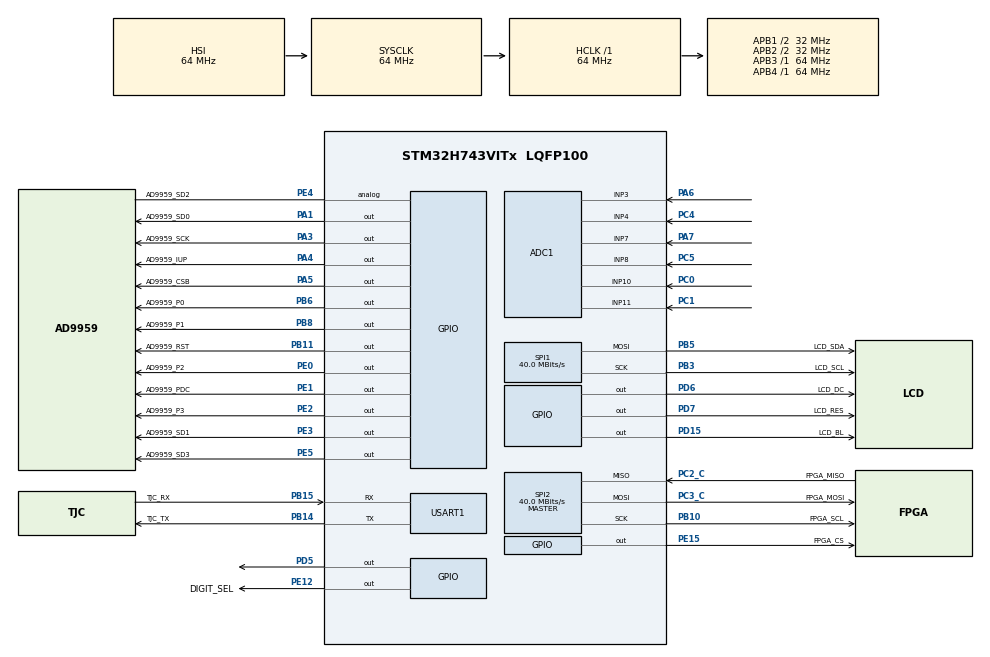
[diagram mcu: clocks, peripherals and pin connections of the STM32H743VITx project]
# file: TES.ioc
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ADC1.Channel-10\#ChannelRegularConversion=ADC_CHANNEL_10
ADC1.Channel-11\#ChannelRegularConversion=ADC_CHANNEL_11
ADC1.Channel-4\#ChannelRegularConversion=ADC_CHANNEL_3
ADC1.Channel-5\#ChannelRegularConversion=ADC_CHANNEL_4
ADC1.Channel-6\#ChannelRegularConversion=ADC_CHANNEL_7
ADC1.Channel-7\#ChannelRegularConversion=ADC_CHANNEL_8
ADC1.ClockPrescaler=ADC_CLOCK_ASYNC_DIV2
ADC1.ClockPrescalerADC3=ADC_CLOCK_ASYNC_DIV16
ADC1.ContinuousConvMode=ENABLE
ADC1.ConversionDataManagement=ADC_CONVERSIONDATA_DMA_CIRCULAR
ADC1.EOCSelection=ADC_EOC_SEQ_CONV
ADC1.NbrOfConversion=6
ADC1.NbrOfConversionFlag=1
ADC1.OffsetNumber-10\#ChannelRegularConversion=ADC_OFFSET_NONE
ADC1.OffsetNumber-11\#ChannelRegularConversion=ADC_OFFSET_NONE
ADC1.OffsetNumber-4\#ChannelRegularConversion=ADC_OFFSET_NONE
ADC1.OffsetNumber-5\#ChannelRegularConversion=ADC_OFFSET_NONE
ADC1.OffsetNumber-6\#ChannelRegularConversion=ADC_OFFSET_NONE
ADC1.OffsetNumber-7\#ChannelRegularConversion=ADC_OFFSET_NONE
ADC1.OffsetSignedSaturation-10\#ChannelRegularConversion=DISABLE
ADC1.OffsetSignedSaturation-11\#ChannelRegularConversion=DISABLE
ADC1.OffsetSignedSaturation-4\#ChannelRegularConversion=DISABLE
ADC1.OffsetSignedSaturation-5\#ChannelRegularConversion=DISABLE
ADC1.OffsetSignedSaturation-6\#ChannelRegularConversion=DISABLE
ADC1.OffsetSignedSaturation-7\#ChannelRegularConversion=DISABLE
ADC1.Overrun=ADC_OVR_DATA_OVERWRITTEN
ADC1.OversamplingMode=DISABLE
ADC1.Rank-10\#ChannelRegularConversion=5
ADC1.Rank-11\#ChannelRegularConversion=6
ADC1.Rank-4\#ChannelRegularConversion=1
ADC1.Rank-5\#ChannelRegularConversion=2
ADC1.Rank-6\#ChannelRegularConversion=3
ADC1.Rank-7\#ChannelRegularConversion=4
ADC1.Ratio=1
ADC1.SamplingTime-10\#ChannelRegularConversion=ADC_SAMPLETIME_1CYCLE_5
ADC1.SamplingTime-11\#ChannelRegularConversion=ADC_SAMPLETIME_1CYCLE_5
ADC1.SamplingTime-4\#ChannelRegularConversion=ADC_SAMPLETIME_1CYCLE_5
ADC1.SamplingTime-5\#ChannelRegularConversion=ADC_SAMPLETIME_1CYCLE_5
ADC1.SamplingTime-6\#ChannelRegularConversion=ADC_SAMPLETIME_1CYCLE_5
ADC1.SamplingTime-7\#ChannelRegularConversion=ADC_SAMPLETIME_1CYCLE_5
ADC1.master=1
ADC3.Channel-0\#ChannelRegularConversion=ADC_CHANNEL_TEMPSENSOR
ADC3.ClockPrescaler=ADC_CLOCK_ASYNC_DIV2
ADC3.ClockPrescalerADC3=ADC_CLOCK_ASYNC_DIV16
ADC3.NbrOfConversionFlag=1
ADC3.OffsetNumber-0\#ChannelRegularConversion=ADC_OFFSET_NONE
ADC3.OffsetSignedSaturation-0\#ChannelRegularConversion=DISABLE
ADC3.Overrun=ADC_OVR_DATA_OVERWRITTEN
ADC3.Rank-0\#ChannelRegularConversion=1
ADC3.SamplingTime-0\#ChannelRegularConversion=ADC_SAMPLETIME_810CYCLES_5
CORTEX_M7.AccessPermission-Cortex_Memory_Protection_Unit_Region0_Settings=MPU_REGION_FULL_ACCESS
CORTEX_M7.AccessPermission_Spec=MPU_REGION_FULL_ACCESS
CORTEX_M7.BaseAddress-Cortex_Memory_Protection_Unit_Region0_Settings=0x0
CORTEX_M7.BaseAddress_Spec=0x24000000
CORTEX_M7.CPU_DCache=Enabled
CORTEX_M7.CPU_ICache=Enabled
CORTEX_M7.DisableExec_Spec=MPU_INSTRUCTION_ACCESS_ENABLE
CORTEX_M7.Enable-Cortex_Memory_Protection_Unit_Region0_Settings=MPU_REGION_ENABLE
CORTEX_M7.Enable_S-Cortex_Memory_Protection_Unit_Region1_Settings_S=__NULL
CORTEX_M7.IsBufferable_Spec=MPU_ACCESS_NOT_BUFFERABLE
CORTEX_M7.IsCacheable_Spec=MPU_ACCESS_NOT_CACHEABLE
CORTEX_M7.IsShareable_Spec=MPU_ACCESS_NOT_SHAREABLE
CORTEX_M7.MPU_Control=MPU_PRIVILEGED_DEFAULT
CORTEX_M7.Size-Cortex_Memory_Protection_Unit_Region0_Settings=MPU_REGION_SIZE_16KB
CORTEX_M7.Size_Spec=MPU_REGION_SIZE_16KB
CORTEX_M7.SubRegionDisable_Spec=0x0
CORTEX_M7.TypeExtField_Spec=MPU_TEX_LEVEL0
CORTEX_M7.default_mode_Activation=1
Dma.ADC1.0.Direction=DMA_PERIPH_TO_MEMORY
Dma.ADC1.0.EventEnable=DISABLE
Dma.ADC1.0.FIFOMode=DMA_FIFOMODE_DISABLE
Dma.ADC1.0.Instance=DMA2_Stream4
Dma.ADC1.0.MemDataAlignment=DMA_MDATAALIGN_HALFWORD
Dma.ADC1.0.MemInc=DMA_MINC_ENABLE
Dma.ADC1.0.Mode=DMA_CIRCULAR
Dma.ADC1.0.PeriphDataAlignment=DMA_PDATAALIGN_HALFWORD
Dma.ADC1.0.PeriphInc=DMA_PINC_DISABLE
Dma.ADC1.0.Polarity=HAL_DMAMUX_REQ_GEN_RISING
Dma.ADC1.0.Priority=DMA_PRIORITY_VERY_HIGH
Dma.ADC1.0.RequestNumber=1
Dma.ADC1.0.SignalID=NONE
Dma.ADC1.0.SyncEnable=DISABLE
Dma.ADC1.0.SyncPolarity=HAL_DMAMUX_SYNC_NO_EVENT
Dma.ADC1.0.SyncRequestNumber=1
Dma.ADC1.0.SyncSignalID=NONE
Dma.Request0=ADC1
Mcu.Family=STM32H7
Mcu.Name=STM32H743VITx
Mcu.Package=LQFP100
NVIC.ADC_IRQn=true\:0\:0\:false\:false\:true\:true\:true\:true
NVIC.DMA2_Stream4_IRQn=true\:0\:0\:false\:false\:true\:false\:true\:true
NVIC.PriorityGroup=NVIC_PRIORITYGROUP_4
PA1.GPIO_Label=AD9959_SD0
PA1.Signal=GPIO_Output
PA3.GPIO_Label=AD9959_SCK
PA3.Signal=GPIO_Output
PA4.GPIO_Label=AD9959_IUP
PA4.Signal=GPIO_Output
PA5.GPIO_Label=AD9959_CSB
PA5.Signal=GPIO_Output
PA6.Signal=ADCx_INP3
PA7.Signal=ADCx_INP7
PB10.GPIO_Label=FPGA_SCL
PB10.Mode=Full_Duplex_Master
PB10.Signal=SPI2_SCK
PB11.GPIO_Label=AD9959_RST
PB11.Signal=GPIO_Output
PB14.GPIO_Label=TJC_TX
PB14.Mode=Asynchronous
PB14.Signal=USART1_TX
PB15.GPIO_Label=TJC_RX
PB15.Mode=Asynchronous
PB15.Signal=USART1_RX
PB3\ (JTDO/TRACESWO).GPIO_Label=LCD_SCL
PB3\ (JTDO/TRACESWO).Mode=TX_Only_Simplex_Unidirect_Master
PB3\ (JTDO/TRACESWO).Signal=SPI1_SCK
PB5.GPIO_Label=LCD_SDA
PB5.Mode=TX_Only_Simplex_Unidirect_Master
PB5.Signal=SPI1_MOSI
PB6.GPIO_Label=AD9959_P0
PB6.Signal=GPIO_Output
PB8.GPIO_Label=AD9959_P1
PB8.Signal=GPIO_Output
PC0.Signal=ADCx_INP10
PC1.Signal=ADCx_INP11
PC12.Signal=SPI3_MOSI
PC14-OSC32_IN\ (OSC32_IN).Mode=LSE-External-Oscillator
PC14-OSC32_IN\ (OSC32_IN).Signal=RCC_OSC32_IN
PC15-OSC32_OUT\ (OSC32_OUT).Mode=LSE-External-Oscillator
PC15-OSC32_OUT\ (OSC32_OUT).Signal=RCC_OSC32_OUT
PC2_C.GPIO_Label=FPGA_MISO
PC2_C.Mode=Full_Duplex_Master
PC2_C.Signal=SPI2_MISO
PC3_C.GPIO_Label=FPGA_MOSI
PC3_C.Mode=Full_Duplex_Master
PC3_C.Signal=SPI2_MOSI
PC4.Signal=ADCx_INP4
PC5.Signal=ADCx_INP8
PD15.GPIO_Label=LCD_BL
PD15.Signal=GPIO_Output
PD5.Signal=GPIO_Output
PD6.GPIO_Label=LCD_DC
PD6.Signal=GPIO_Output
PD7.GPIO_Label=LCD_RES
PD7.Signal=GPIO_Output
PE0.GPIO_Label=AD9959_P2
PE0.Signal=GPIO_Output
PE1.GPIO_Label=AD9959_PDC
PE1.Signal=GPIO_Output
PE12.GPIO_Label=DIGIT_SEL
PE12.Signal=GPIO_Output
PE15.GPIO_Label=FPGA_CS
PE15.Signal=GPIO_Output
PE2.GPIO_Label=AD9959_P3
PE2.Signal=GPIO_Output
PE3.GPIO_Label=AD9959_SD1
PE3.Signal=GPIO_Output
PE4.GPIO_Label=AD9959_SD2
PE4.Signal=GPIO_Analog
PE5.GPIO_Label=AD9959_SD3
PE5.Signal=GPIO_Output
PH0-OSC_IN\ (PH0).Mode=HSE-External-Oscillator
PH0-OSC_IN\ (PH0).Signal=RCC_OSC_IN
PH1-OSC_OUT\ (PH1).Mode=HSE-External-Oscillator
PH1-OSC_OUT\ (PH1).Signal=RCC_OSC_OUT
ProjectManager.HeapSize=0x200
ProjectManager.StackSize=0x400
ProjectManager.TargetToolchain=MDK-ARM V5.32
RCC.ADCFreq_Value=72000000
RCC.APB1Freq_Value=32000000
RCC.APB2Freq_Value=32000000
RCC.APB3Freq_Value=64000000
RCC.APB4Freq_Value=64000000
RCC.CortexFreq_Value=64000000
RCC.D2PPRE1=RCC_APB1_DIV2
RCC.D2PPRE2=RCC_APB2_DIV2
RCC.DIVM1=4
RCC.DIVM2=4
RCC.DIVM3=4
RCC.DIVN1=10
RCC.DIVN2=36
RCC.DIVN3=10
RCC.DIVP2=8
RCC.DIVP3=4
RCC.DIVQ3=4
RCC.HCLKFreq_Value=64000000
RCC.PLL1_VCI_Range-AdvancedSettings=RCC_PLL1VCIRANGE_0
RCC.PLL2FRACN=0
RCC.PLL3FRACN=0
RCC.PLLFRACN=0
RCC.SYSCLKFreq_VALUE=64000000
RCC.USBFreq_Value=80000000
SH.ADCx_INP10.0=ADC1_INP10,IN10-Single-Ended
SH.ADCx_INP11.0=ADC1_INP11,IN11-Single-Ended
SH.ADCx_INP3.0=ADC1_INP3,IN3-Single-Ended
SH.ADCx_INP4.0=ADC1_INP4,IN4-Single-Ended
SH.ADCx_INP7.0=ADC1_INP7,IN7-Single-Ended
SH.ADCx_INP8.0=ADC1_INP8,IN8-Single-Ended
SPI1.CalculateBaudRate=40.0 MBits/s
SPI1.Direction=SPI_DIRECTION_2LINES_TXONLY
SPI1.Mode=SPI_MODE_MASTER
SPI1.VirtualType=VM_MASTER
SPI2.CalculateBaudRate=40.0 MBits/s
SPI2.Direction=SPI_DIRECTION_2LINES
SPI2.Mode=SPI_MODE_MASTER
SPI2.VirtualType=VM_MASTER
USART1.VirtualMode-Asynchronous=VM_ASYNC
VP_ADC3_TempSens_Input.Mode=IN-TempSens
VP_MEMORYMAP_VS_MEMORYMAP.Mode=CurAppReg
board=custom

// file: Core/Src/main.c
/* USER CODE BEGIN Header */
/**
  ******************************************************************************
  * @file           : main.c
  * @brief          : Main program body
  ******************************************************************************
  * @attention
  *
  * Copyright (c) 2025 STMicroelectronics.
  * All rights reserved.
  *
  * This software is licensed under terms that can be found in the LICENSE file
  * in the root directory of this software component.
  * If no LICENSE file comes with this software, it is provided AS-IS.
  *
  ******************************************************************************
  */
/* USER CODE END Header */
#include "main.h"
#include "adc.h"
#include "dma.h"
#include "memorymap.h"
#include "spi.h"
#include "usart.h"
#include "gpio.h"

/* USER CODE BEGIN Includes */
#include <stdio.h>
//
#include "TJC_Usart.h"
#include "ad9959.h"
/* USER CODE END Includes */

void SystemClock_Config(void);
void PeriphCommonClock_Config(void);
static void MPU_Config(void);

/* USER CODE BEGIN 0 */
#define KEY0 (HAL_GPIO_ReadPin(GPIOA, GPIO_PIN_0))

uint8_t TD[5] = {0x11, 0x22, 0x33, 0x44, 0x55};
uint32_t uwTick_pre = 1000000;
uint32_t cnt_t;
uint32_t AD_freq;
uint32_t AD_freq_temp;
uint8_t  AD_val;
uint32_t S2_0_Freq = 0;
uint32_t time_s2_start = 0;

/* USER CODE END 0 */

int main(void)
{

  /* MPU Configuration--------------------------------------------------------*/
  MPU_Config();

  /* Enable the CPU Cache */

  /* Enable I-Cache---------------------------------------------------------*/
  SCB_EnableICache();

  /* Enable D-Cache---------------------------------------------------------*/
  SCB_EnableDCache();

  /* MCU Configuration--------------------------------------------------------*/

  /* Reset of all peripherals, Initializes the Flash interface and the Systick. */
  HAL_Init();

  /* Configure the system clock */
  SystemClock_Config();

  /* Configure the peripherals common clocks */
  PeriphCommonClock_Config();

  /* Initialize all configured peripherals */
  MX_GPIO_Init();
  MX_DMA_Init();
  MX_USART1_UART_Init();
  MX_ADC1_Init();
  MX_SPI1_Init();
  MX_SPI2_Init();
  MX_ADC3_Init();
  /* USER CODE BEGIN 2 */
	//HAL_UART_Receive_IT(&huart1, &rx_buff[cnt_rx], 1);
  HAL_GPIO_WritePin(DIGIT_SEL_GPIO_Port, DIGIT_SEL_Pin, GPIO_PIN_SET);
	Serial_TJC_SendTxt_2(1, "It's My Go!!!!!");
	Serial_TJC_SendTxt_2(2, "~");
  Serial_TJC_SendTxt_2(21, "Circuit Case:");
  Channel_Select(MAIN_CH_SELECT);
	Write_frequency(MAIN_CH_SELECT, 1000);
	Write_Amplitude(MAIN_CH_SELECT, MAIN_Amplitude);
  time_s2_start = CHARGE_TIME + S1_HOLD_TIME + mark_time;
  Serial_TJC_SendCmd("click b6,0");

  //TJC_Uart_Start();
  /* USER CODE END 2 */

  /* Infinite loop */
	while (1)
	{

    /* USER CODE BEGIN 3 */
		Serial_TJC_SendTxt_2(20, "Minute:%02d  Sencond:%02d.%03d",
							uwTick / 60000, uwTick % 60000 / 1000, uwTick % 1000);

    AD_freq_temp = Get_Frequency();
		if (phase_state == 2) {
      if (uwTick < SWEEP_TIME_1 + time_s2_start) AD_freq = (uwTick - time_s2_start) * SWEEP_FREQ_1 / SWEEP_TIME_1;
      else AD_freq = (AD_freq_temp > AD_freq) ? AD_freq_temp : AD_freq;
    }
		else AD_freq  = AD_freq_temp;

      //if (AD_freq > 1000000)   Serial_TJC_SendTxt_2(3, "AD9959 Freq: %d,%03d,freq);
		Serial_TJC_SendTxt_2(4, "AD9959 Ampl: %4.2f mV",
							(float)AD_val / 2);
    #if __TJC_DEBUG__
    Serial_TJC_SendTxt_2(27, "phase_state: %d", phase_state);
    #endif

		//show_GPU_temprature();
		ShowADCResult();

    if (phase_state == 2) {
      if (uwTick < SWEEP_TIME_1 + time_s2_start){
        S2_0_Freq = AD_freq;
        Write_frequency(MAIN_CH_SELECT, S2_0_Freq);
      }
      else if (uwTick < SWEEP_TIME_1 + SWEEP_TIME_2 + time_s2_start)
        Write_frequency(MAIN_CH_SELECT, SWEEP_FREQ_1 + (uwTick - SWEEP_TIME_1 - time_s2_start) *
                                      (SWEEP_FREQ_2 - SWEEP_FREQ_1) / SWEEP_TIME_2 );
      else if (uwTick < SWEEP_TIME_1 + SWEEP_TIME_2 + SWEEP_TIME_3 + time_s2_start)
        Write_frequency(MAIN_CH_SELECT, SWEEP_FREQ_2 + (uwTick - SWEEP_TIME_2 - SWEEP_TIME_1 - time_s2_start) *
                                      (SWEEP_FREQ_3 - SWEEP_FREQ_2) / SWEEP_TIME_3 );
      else if (uwTick < SWEEP_TIME_1 + SWEEP_TIME_2 + SWEEP_TIME_3 + SWEEP_TIME_4 + time_s2_start)
        Write_frequency(MAIN_CH_SELECT, SWEEP_FREQ_3 + (uwTick - SWEEP_TIME_3 - SWEEP_TIME_2 - SWEEP_TIME_1 - time_s2_start) *
                                      (SWEEP_FREQ_4 - SWEEP_FREQ_3) / SWEEP_TIME_4 );
    }

    if (AD_val != MAIN_Amplitude) Write_Amplitude(MAIN_CH_SELECT, MAIN_Amplitude);

		HAL_Delay(1);
	}
  /* USER CODE END 3 */
}

void SystemClock_Config(void)
{
  RCC_OscInitTypeDef RCC_OscInitStruct = {0};
  RCC_ClkInitTypeDef RCC_ClkInitStruct = {0};

  /** Supply configuration update enable
  */
  HAL_PWREx_ConfigSupply(PWR_LDO_SUPPLY);

  /** Configure the main internal regulator output voltage
  */
  __HAL_PWR_VOLTAGESCALING_CONFIG(PWR_REGULATOR_VOLTAGE_SCALE3);

  while(!__HAL_PWR_GET_FLAG(PWR_FLAG_VOSRDY)) {}

  /** Initializes the RCC Oscillators according to the specified parameters
  * in the RCC_OscInitTypeDef structure.
  */
  RCC_OscInitStruct.OscillatorType = RCC_OSCILLATORTYPE_HSI;
  RCC_OscInitStruct.HSIState = RCC_HSI_DIV1;
  RCC_OscInitStruct.HSICalibrationValue = RCC_HSICALIBRATION_DEFAULT;
  RCC_OscInitStruct.PLL.PLLState = RCC_PLL_ON;
  RCC_OscInitStruct.PLL.PLLSource = RCC_PLLSOURCE_HSI;
  RCC_OscInitStruct.PLL.PLLM = 4;
  RCC_OscInitStruct.PLL.PLLN = 10;
  RCC_OscInitStruct.PLL.PLLP = 2;
  RCC_OscInitStruct.PLL.PLLQ = 2;
  RCC_OscInitStruct.PLL.PLLR = 2;
  RCC_OscInitStruct.PLL.PLLRGE = RCC_PLL1VCIRANGE_3;
  RCC_OscInitStruct.PLL.PLLVCOSEL = RCC_PLL1VCOMEDIUM;
  RCC_OscInitStruct.PLL.PLLFRACN = 0;
  if (HAL_RCC_OscConfig(&RCC_OscInitStruct) != HAL_OK)
  {
    Error_Handler();
  }

  /** Initializes the CPU, AHB and APB buses clocks
  */
  RCC_ClkInitStruct.ClockType = RCC_CLOCKTYPE_HCLK|RCC_CLOCKTYPE_SYSCLK
                              |RCC_CLOCKTYPE_PCLK1|RCC_CLOCKTYPE_PCLK2
                              |RCC_CLOCKTYPE_D3PCLK1|RCC_CLOCKTYPE_D1PCLK1;
  RCC_ClkInitStruct.SYSCLKSource = RCC_SYSCLKSOURCE_HSI;
  RCC_ClkInitStruct.SYSCLKDivider = RCC_SYSCLK_DIV1;
  RCC_ClkInitStruct.AHBCLKDivider = RCC_HCLK_DIV1;
  RCC_ClkInitStruct.APB3CLKDivider = RCC_APB3_DIV1;
  RCC_ClkInitStruct.APB1CLKDivider = RCC_APB1_DIV2;
  RCC_ClkInitStruct.APB2CLKDivider = RCC_APB2_DIV2;
  RCC_ClkInitStruct.APB4CLKDivider = RCC_APB4_DIV1;

  if (HAL_RCC_ClockConfig(&RCC_ClkInitStruct, FLASH_LATENCY_1) != HAL_OK)
  {
    Error_Handler();
  }
}

void PeriphCommonClock_Config(void)
{
  RCC_PeriphCLKInitTypeDef PeriphClkInitStruct = {0};

  /** Initializes the peripherals clock
  */
  PeriphClkInitStruct.PeriphClockSelection = RCC_PERIPHCLK_ADC;
  PeriphClkInitStruct.PLL2.PLL2M = 4;
  PeriphClkInitStruct.PLL2.PLL2N = 36;
  PeriphClkInitStruct.PLL2.PLL2P = 8;
  PeriphClkInitStruct.PLL2.PLL2Q = 2;
  PeriphClkInitStruct.PLL2.PLL2R = 2;
  PeriphClkInitStruct.PLL2.PLL2RGE = RCC_PLL2VCIRANGE_3;
  PeriphClkInitStruct.PLL2.PLL2VCOSEL = RCC_PLL2VCOWIDE;
  PeriphClkInitStruct.PLL2.PLL2FRACN = 0;
  PeriphClkInitStruct.AdcClockSelection = RCC_ADCCLKSOURCE_PLL2;
  if (HAL_RCCEx_PeriphCLKConfig(&PeriphClkInitStruct) != HAL_OK)
  {
    Error_Handler();
  }
}

 /* MPU Configuration */

void MPU_Config(void)
{
  MPU_Region_InitTypeDef MPU_InitStruct = {0};

  /* Disables the MPU */
  HAL_MPU_Disable();

  /** Initializes and configures the Region and the memory to be protected
  */
  MPU_InitStruct.Enable = MPU_REGION_ENABLE;
  MPU_InitStruct.Number = MPU_REGION_NUMBER0;
  MPU_InitStruct.BaseAddress = 0x24000000;
  MPU_InitStruct.Size = MPU_REGION_SIZE_16KB;
  MPU_InitStruct.SubRegionDisable = 0x0;
  MPU_InitStruct.TypeExtField = MPU_TEX_LEVEL0;
  MPU_InitStruct.AccessPermission = MPU_REGION_FULL_ACCESS;
  MPU_InitStruct.DisableExec = MPU_INSTRUCTION_ACCESS_ENABLE;
  MPU_InitStruct.IsShareable = MPU_ACCESS_NOT_SHAREABLE;
  MPU_InitStruct.IsCacheable = MPU_ACCESS_NOT_CACHEABLE;
  MPU_InitStruct.IsBufferable = MPU_ACCESS_NOT_BUFFERABLE;

  HAL_MPU_ConfigRegion(&MPU_InitStruct);
  /* Enables the MPU */
  HAL_MPU_Enable(MPU_PRIVILEGED_DEFAULT);

}

void Error_Handler(void)
{
  __disable_irq();
  while (1)
  {
  }
}
